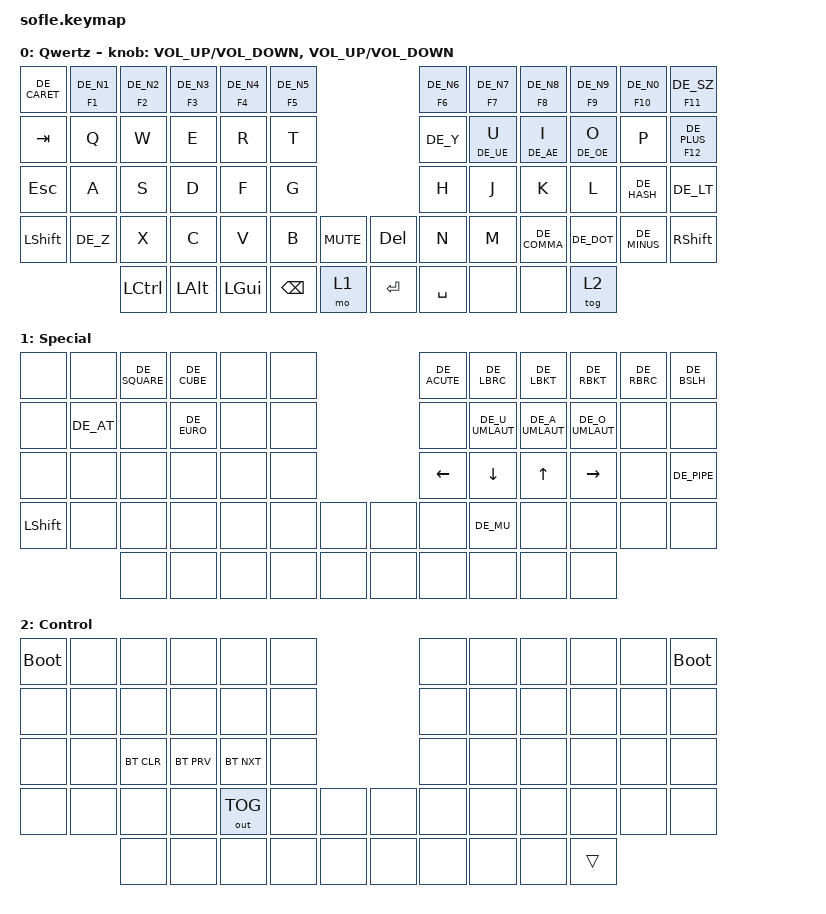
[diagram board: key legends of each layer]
/*
 * Copyright (c) 2020 The ZMK Contributors
 *
 * SPDX-License-Identifier: MIT
 */

#include "keys_de.h"
#include <behaviors.dtsi>
#include <dt-bindings/zmk/bt.h>
#include <dt-bindings/zmk/keys.h>
#include <dt-bindings/zmk/outputs.h>

#define QWERTZ 0
#define BASE 1
#define SPECIAL 2
#define CONTROL 3

&mt {
    tapping-term-ms = <200>;
    quick-tap-ms = <200>;
    flavor = "tap-preferred";
};

/ {
    behaviors {
        mmh: mod_morph_h {
            compatible = "zmk,behavior-mod-morph";
            #binding-cells = <0>;
            bindings = <&kp H>, <&kp LEFT>;

            mods = <(MOD_RALT)>;
        };

        mmj: mod_morph_j {
            compatible = "zmk,behavior-mod-morph";
            #binding-cells = <0>;
            bindings = <&kp J>, <&kp DOWN>;

            mods = <(MOD_RALT)>;
        };

        mmk: mod_morph_k {
            compatible = "zmk,behavior-mod-morph";
            #binding-cells = <0>;
            bindings = <&kp K>, <&kp UP>;

            mods = <(MOD_RALT)>;
        };

        mml: mod_morph_l {
            compatible = "zmk,behavior-mod-morph";
            #binding-cells = <0>;
            bindings = <&kp L>, <&kp RIGHT>;

            mods = <(MOD_RALT)>;
        };
    };

    combos { compatible = "zmk,combos"; };

    keymap {
        compatible = "zmk,keymap";

        default_layer {
            display-name = "Qwertz";
            bindings = <
&kp DE_CARET  &mt F1 DE_N1  &mt F2 DE_N2  &mt F3 DE_N3  &mt F4 DE_N4  &mt F5 DE_N5                            &mt F6 DE_N6  &mt F7 DE_N7  &mt F8 DE_N8  &mt F9 DE_N9  &mt F10 DE_N0  &mt F11 DE_SZ
&kp TAB       &kp Q         &kp W         &kp E         &kp R         &kp T                                   &kp DE_Y      &mt DE_UE U   &mt DE_AE I   &mt DE_OE O   &kp P          &mt F12 DE_PLUS
&kp ESC       &kp A         &kp S         &kp D         &kp F         &kp G                                   &kp H         &kp J         &kp K         &kp L         &kp DE_HASH    &kp DE_LT
&kp LSHFT     &kp DE_Z      &kp X         &kp C         &kp V         &kp B         &kp C_MUTE    &kp DELETE  &kp N         &kp M         &kp DE_COMMA  &kp DE_DOT    &kp DE_MINUS   &kp RSHFT
                            &kp LCTRL     &kp LALT      &kp LGUI      &kp BSPC      &mo 1         &kp RET     &kp SPACE     &none         &none         &tog 2
            >;

            sensor-bindings =
                <&inc_dec_kp C_VOLUME_UP C_VOLUME_DOWN>,
                <&inc_dec_kp C_VOLUME_UP C_VOLUME_DOWN>;
        };

        special_layer {
            bindings = <
&none       &none      &kp DE_SQUARE  &kp DE_CUBE  &none  &none                  &kp DE_ACUTE  &kp DE_LBRC      &kp DE_LBKT      &kp DE_RBKT      &kp DE_RBRC  &kp DE_BSLH
&none       &kp DE_AT  &none          &kp DE_EURO  &none  &none                  &none         &kp DE_U_UMLAUT  &kp DE_A_UMLAUT  &kp DE_O_UMLAUT  &none        &none
&none       &none      &none          &none        &none  &none                  &kp LEFT      &kp DOWN         &kp UP           &kp RIGHT        &none        &kp DE_PIPE
&kp LSHIFT  &none      &none          &none        &none  &none  &none    &none  &none         &kp DE_MU        &none            &none            &none        &none
                       &none          &none        &none  &none  &none    &none  &none         &none            &none            &none
            >;

            label = "Special";
        };

        control_layer {
            display-name = "Control";
            bindings = <
&bootloader  &none  &none       &none       &none         &none                  &none  &none  &none  &none   &none  &bootloader
&none        &none  &none       &none       &none         &none                  &none  &none  &none  &none   &none  &none
&none        &none  &bt BT_CLR  &bt BT_PRV  &bt BT_NXT    &none                  &none  &none  &none  &none   &none  &none
&none        &none  &none       &none       &out OUT_TOG  &none  &none    &none  &none  &none  &none  &none   &none  &none
                    &none       &none       &none         &none  &none    &none  &none  &none  &none  &trans
            >;
        };
    };
};
